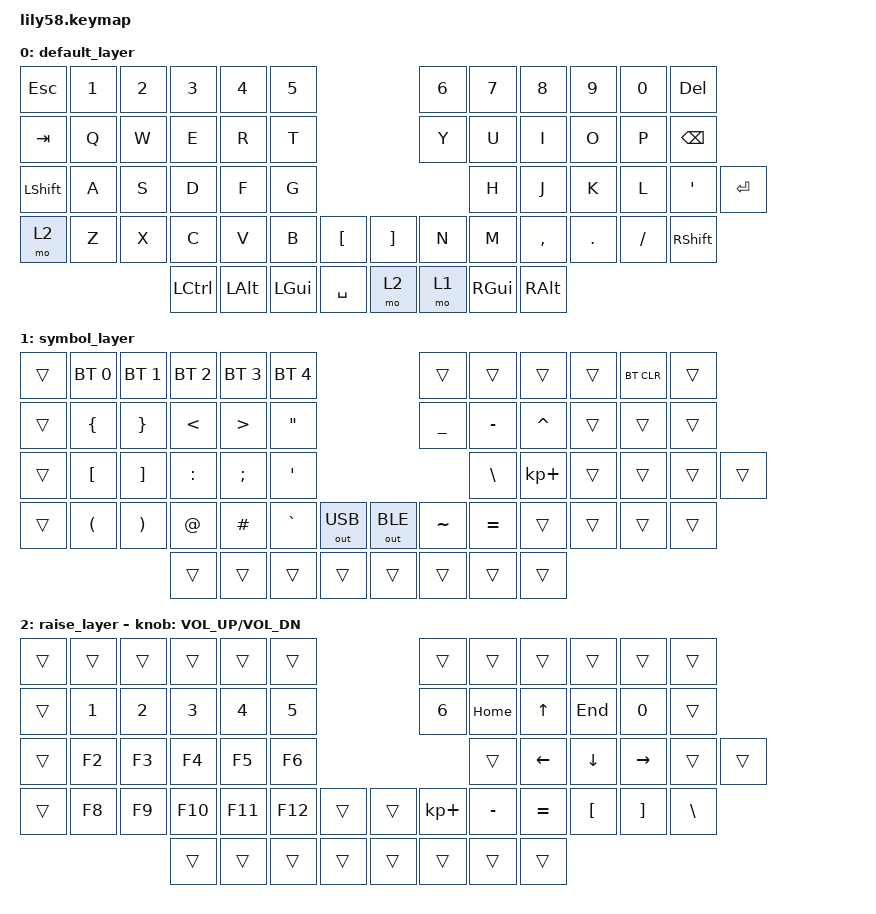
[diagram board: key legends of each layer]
/*
 * Copyright (c) 2020 The ZMK Contributors
 *
 * SPDX-License-Identifier: MIT
 */

#include <behaviors.dtsi>
#include <dt-bindings/zmk/keys.h>
#include <dt-bindings/zmk/bt.h>
#include <dt-bindings/zmk/ext_power.h>
#include <dt-bindings/zmk/outputs.h>

/ {
	keymap {
		compatible = "zmk,keymap";

		default_layer {
// ----------------------------------------------------------------------------------------------------------------
// |  ESC  |  1  |  2  |  3   |  4   |  5   |                       |  6   |  7    |  8    |  9   |   0   |   `   |
// |  TAB  |  Q  |  W  |  E   |  R   |  T   |                       |  Y   |  U    |  I    |  O   |   P   | BSPC  |
// | SHIFT |  A  |  S  |  D   |  F   |  G   |                       |  H   |  J    |  K    |  L   |   '   | ENTER |
// | CTRL  |  Z  |  X  |  C   |  V   |  B   |   "["  |      |  "]"  |  N   |  M    |  ,    |  .   |   /   | SHIFT |
//                     | CTRL | OPT  | CMD  |  SPACE |      | SYMB  | RAISE|  CMD  | OPT   |
			bindings = <
&kp ESC   &kp N1 &kp N2 &kp N3    &kp N4   &kp N5                      &kp N6 &kp N7   &kp N8    &kp N9  &kp N0   &kp DELETE
&kp TAB   &kp Q  &kp W  &kp E     &kp R    &kp T                       &kp Y  &kp U    &kp I     &kp O   &kp P    &kp BSPC
&kp LSHFT &kp A  &kp S  &kp D     &kp F    &kp G                       &kp H  &kp J    &kp K     &kp L   &kp SINGLE_QUOTE &kp RET
&mo 2     &kp Z  &kp X  &kp C     &kp V    &kp B    &kp LBKT  &kp RBKT &kp N  &kp M    &kp COMMA &kp DOT &kp FSLH &kp RSHFT
                        &kp LCTRL &kp LALT &kp LGUI &kp SPACE &mo 2    &mo 1  &kp RGUI &kp RALT
			>;
		};

		symbol_layer {
// ------------------------------------------------------------------------------------------------------------
// |  ESC  | BT0 | BT1 |  BT2 |  BT3 |  BT4 |                   |      |       |       |      |       |       |
// |  TAB  |  {  |  }  |  <   |  >   |   "  |                   |  _   |   -   |  ^    |  F10 |  F11  |  F12  |
// | SHIFT |  [  |  ]  |  :   |  ;   |   '  |                   |  \   |   +   |  *    |  (   |   )   |   ~   |
// |  CTRL |  (  |  )  |  @   |  #   |   `  |        |  |       |  ~   |   =   |  +    |  {   |   }   |  "|"  |
//                     |      |      |      |        |  |       |      |       |       |
			bindings = <
&trans     &bt BT_SEL 0  &bt BT_SEL 1  &bt BT_SEL 2      &bt BT_SEL 3      &bt BT_SEL 4                                          &trans        &trans         &trans          &trans     &bt BT_CLR   &trans
&trans     &kp LBRC      &kp RBRC      &kp LESS_THAN     &kp GREATER_THAN  &kp DOUBLE_QUOTES                                     &kp UNDER     &kp MINUS      &kp CARET       &trans     &trans       &trans
&trans     &kp LBKT      &kp RBKT      &kp COLON         &kp SEMICOLON     &kp SINGLE_QUOTE                                      &kp BACKSLASH &kp KP_PLUS    &trans          &trans     &trans       &trans
&trans     &kp LPAR      &kp RPAR      &kp AT_SIGN       &kp HASH          &kp GRAVE         &out OUT_USB          &out OUT_BLE  &kp TILDE     &kp EQUAL      &trans          &trans     &trans       &trans
                                       &trans            &trans            &trans            &trans                &trans        &trans        &trans         &trans
			>;
		};

		raise_layer {
// ------------------------------------------------------------------------------------------------------------
// |       |     |     |      |      |      |                   |      |       |       |      |       |       |
// |   `   |  1  |  2  |  3   |  4   |  5   |                   |  6   |  HOME |   ^   |  END |   0   |       |
// |   F1  |  F2 |  F3 |  F4  |  F5  |  F6  |                   |      |   <-  |   v   |  ->  |       |       |
// |   F7  |  F8 |  F9 |  F10 |  F11 |  F12 |        |  |       |  +   |   -   |   =   |  [   |   ]   |   \   |
//                     |      |      |      |        |  |       |      |       |       |
			bindings = <
&trans    &trans &trans &trans  &trans  &trans                       &trans      &trans    &trans    &trans    &trans    &trans
&trans    &kp N1 &kp N2 &kp N3  &kp N4  &kp N5                       &kp N6      &kp HOME  &kp UP    &kp END   &kp N0    &trans
&trans    &kp F2 &kp F3 &kp F4  &kp F5  &kp F6                       &trans      &kp LEFT  &kp DOWN  &kp RIGHT &trans    &trans
&trans    &kp F8 &kp F9 &kp F10 &kp F11 &kp F12   &trans   &trans    &kp KP_PLUS &kp MINUS &kp EQUAL &kp LBKT  &kp RBKT  &kp BSLH
                        &trans  &trans  &trans    &trans   &trans    &trans      &trans    &trans
			>;

			sensor-bindings = <&inc_dec_kp C_VOL_UP C_VOL_DN>;
		};
	};
};

// 		template_layer {
// // ----------------------------------------------------------------------------------------------------------------
// // |  ESC  |     |     |      |      |      |                       |      |       |       |      |       | DEL   |
// // |  TAB  |     |     |      |      |      |                       |      |       |       |      |       | BSPC  |
// // | SHIFT |     |     |      |      |      |                       |      |       |       |      |       | ENTER |
// // | CTRL  |     |     |      |      |      |        |      |       |      |       |       |      |       | SHIFT |
// //                     | ALT  | GUI  | SYMB |  SPACE |      | SYMB  | RAISE| BSPC  | GUI   |
// 			bindings = <
// &kp ESC   &none  &none  &none     &none    &none                       &none  &none    &none     &none   &none    &kp DELETE
// &kp TAB   &none  &none  &none     &none    &none                       &none  &none    &none     &none   &none    &kp BSPC
// &kp LSHFT &none  &none  &none     &none    &none                       &none  &none    &none     &none   &none    &kp RET
// &mo CTRL  &none  &none  &none     &none    &none    &none     &none    &none  &none    &none     &none   &none    &kp RSHFT
//                         &kp LCTRL &kp LALT &kp LGUI &kp SPACE &mo 2    &mo 1  &kp BSPC &kp RGUI
// 			>;
// 		};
